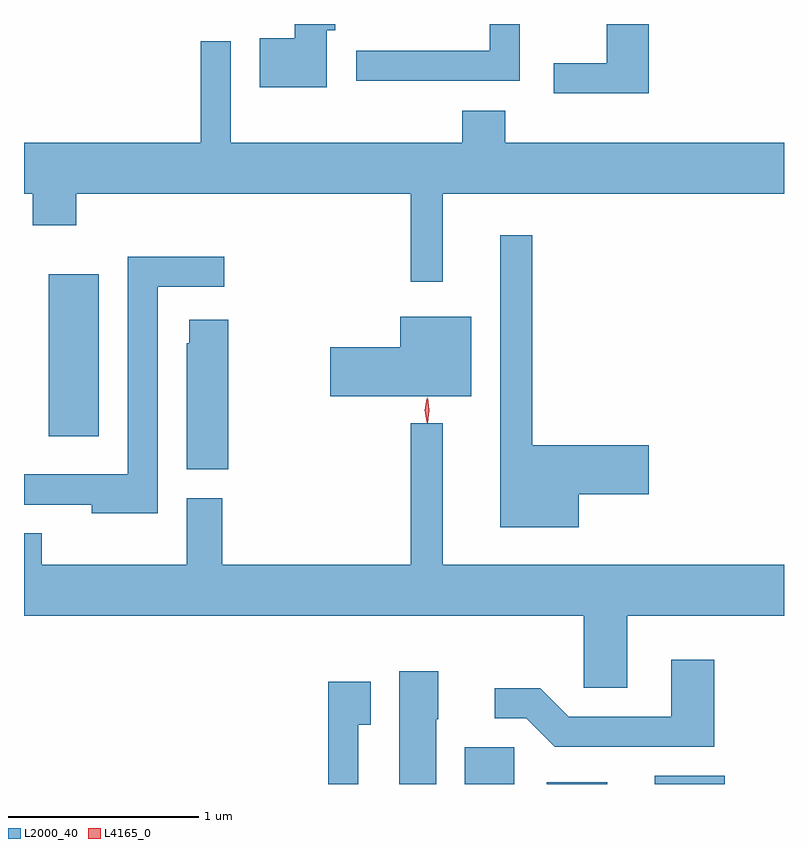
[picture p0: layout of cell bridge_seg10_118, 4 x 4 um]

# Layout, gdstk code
import gdstk
lib = gdstk.Library(unit=1e-6, precision=1e-09)
def R(c, l, rs):  # rectangles x0, y0, x1, y1
    for r in rs: c.add(gdstk.rectangle(r[:2], r[2:], *l))
def P(c, l, *ps):  # polygons
    for p in ps: c.add(gdstk.Polygon(p, *l))
L2000_40 = (2000, 40)
L4165_0 = (4165, 0)

bridge_seg10_118 = lib.new_cell('bridge_seg10_118')
R(bridge_seg10_118, L2000_40, [(1548.006,2144.11,1548.264,2144.304), (1548.436,2144.11,1548.754,2144.119), (1549.006,2144.11,1549.374,2144.154), (1545.816,2145.941,1546.079,2146.794)])
P(bridge_seg10_118, L2000_40, [(1548.294,2148.11),(1548.136,2148.11),(1548.136,2147.969),(1547.433,2147.969),(1547.433,2147.811),(1548.294,2147.811)],
  [(1547.279,2148.076),(1547.324,2148.076),(1547.324,2148.11),(1547.111,2148.11),(1547.111,2148.034),(1546.926,2148.034),(1546.926,2147.776),(1547.279,2147.776)],
  [(1548.974,2148.11),(1548.751,2148.11),(1548.751,2147.904),(1548.473,2147.904),(1548.473,2147.746),(1548.974,2147.746)],
  [(1547.889,2147.216),(1549.685,2147.216),(1549.685,2147.484),(1548.219,2147.484),(1548.219,2147.654),(1547.991,2147.654),(1547.991,2147.484),(1546.774,2147.484),(1546.774,2148.018),(1546.616,2148.018),(1546.616,2147.484),(1545.685,2147.484),(1545.685,2147.216),(1545.731,2147.216),(1545.731,2147.051),(1545.959,2147.051),(1545.959,2147.216),(1547.721,2147.216),(1547.721,2146.753),(1547.889,2146.753)],
  [(1548.604,2145.636),(1548.974,2145.636),(1548.974,2145.894),(1548.359,2145.894),(1548.359,2146.998),(1548.191,2146.998),(1548.191,2145.461),(1548.604,2145.461)],
  [(1546.389,2146.726),(1546.738,2146.726),(1546.738,2146.884),(1546.231,2146.884),(1546.231,2145.739),(1545.685,2145.739),(1545.685,2145.581),(1546.041,2145.581),(1546.041,2145.536),(1546.389,2145.536)],
  [(1548.039,2146.569),(1547.666,2146.569),(1547.666,2146.409),(1547.296,2146.409),(1547.296,2146.151),(1548.039,2146.151)],
  [(1546.759,2146.554),(1546.556,2146.554),(1546.556,2146.43),(1546.541,2146.43),(1546.541,2145.766),(1546.759,2145.766)],
  [(1548.859,2144.996),(1549.685,2144.996),(1549.685,2145.264),(1547.889,2145.264),(1547.889,2146.008),(1547.721,2146.008),(1547.721,2145.264),(1546.729,2145.264),(1546.729,2145.614),(1546.541,2145.614),(1546.541,2145.264),(1545.779,2145.264),(1545.779,2145.429),(1545.685,2145.429),(1545.685,2144.996),(1548.631,2144.996),(1548.631,2144.616),(1548.859,2144.616)],
  [(1549.319,2144.764),(1549.091,2144.764),(1549.091,2144.464),(1548.552,2144.464),(1548.402,2144.614),(1548.163,2144.614),(1548.163,2144.456),(1548.329,2144.456),(1548.479,2144.306),(1549.319,2144.306)],
  [(1547.854,2144.45),(1547.864,2144.45),(1547.864,2144.704),(1547.661,2144.704),(1547.661,2144.11),(1547.854,2144.11)],
  [(1547.444,2144.421),(1547.509,2144.421),(1547.509,2144.649),(1547.286,2144.649),(1547.286,2144.11),(1547.444,2144.11)])
P(bridge_seg10_118, L4165_0, [(1547.805,2146.013),(1547.804,2146.014),(1547.795,2146.076),(1547.804,2146.14),(1547.805,2146.14),(1547.805,2146.14),(1547.815,2146.076),(1547.805,2146.014)],
  [(1547.808,2146.01),(1547.808,2146.01),(1547.799,2146.078),(1547.81,2146.146),(1547.81,2146.146),(1547.81,2146.146),(1547.819,2146.078),(1547.809,2146.01)])

lib.write_gds('bridge_seg10_118.gds')
